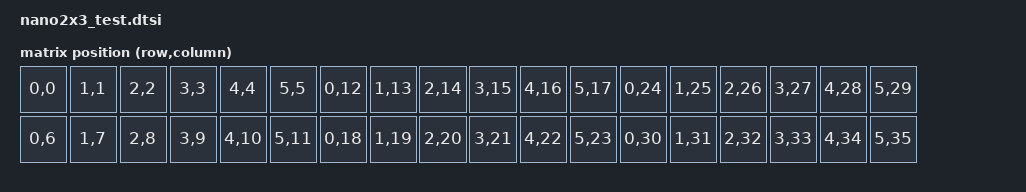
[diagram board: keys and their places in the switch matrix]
/*
 * Copyright (c) 2023 The ZMK Contributors
 *
 * SPDX-License-Identifier: MIT
 */

#include <dt-bindings/zmk/matrix_transform.h>
#include <dt-bindings/led/led.h>

/ {

    chosen {
        zmk,matrix-transform = &default_transform;
    };

    default_transform: keymap_transform_0 {
        compatible = "zmk,matrix-transform";
        columns = <36>;
        rows = <6>;
//	|Tab |Q   |W   |E   |R   |T   |    |Y   |U   |I   |O   |P   |[   |    |1   |2   |3   |4   |5   |6   |
//	|Caps|A   |S   |D   |F   |G   |    |H   |J   |K   |L   |;   |'   |    |7   |8   |9   |0   |-   |=   |

        map = <
RC(0,0) RC(1,1) RC(2,2) RC(3,3) RC(4,4)  RC(5,5)       RC(0,12) RC(1,13) RC(2,14) RC(3,15) RC(4,16) RC(5,17)      RC(0,24) RC(1,25) RC(2,26) RC(3,27) RC(4,28) RC(5,29) 
RC(0,6) RC(1,7) RC(2,8) RC(3,9) RC(4,10) RC(5,11)      RC(0,18) RC(1,19) RC(2,20) RC(3,21) RC(4,22) RC(5,23)      RC(0,30) RC(1,31) RC(2,32) RC(3,33) RC(4,34) RC(5,35) 

        >;
    };

};

